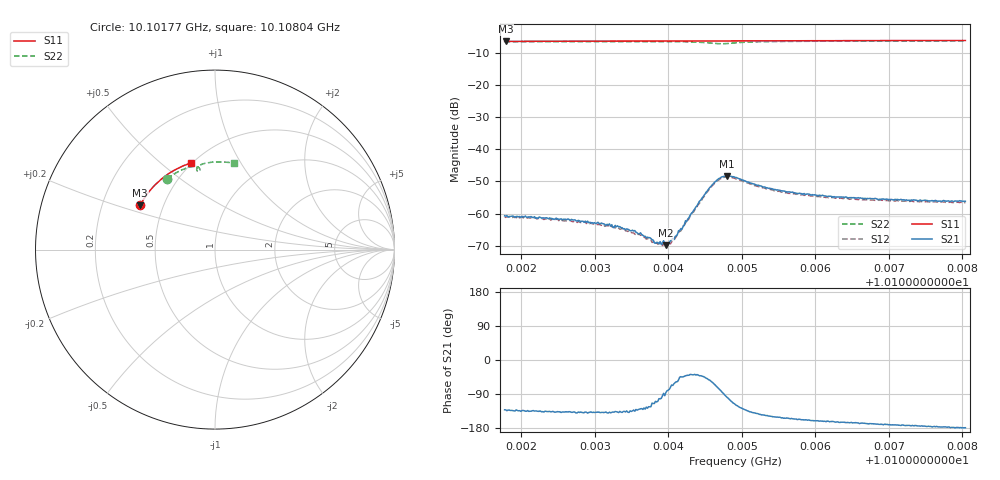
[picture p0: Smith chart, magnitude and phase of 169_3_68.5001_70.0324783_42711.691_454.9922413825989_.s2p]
#  HZ  S  RI  R  50.00
! Rohde & Schwarz Vector Network Analyzer
! Rohde-Schwarz,ZNB20-2Port,1311601062101988,3.16
! Created: UTC 3/20/2024, 4:56:08 PM
! freq[Hz]  re:S11  im:S11  re:S21  im:S21  re:S12  im:S12  re:S22  im:S22
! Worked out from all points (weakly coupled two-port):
!   401 points, 10.10177 GHz to 10.10804 GHz, reference 50 ohm
!   highest |S21| = -48.26 dB at 10.1048 GHz (marker M1); lowest = -69.9 dB at 10.10397 GHz (marker M2)
!   lowest |S11| = -6.3 dB at 10.10179 GHz (marker M3), VSWR 2.88, Z = 18.5 + j11.9 ohm
!   |S11| at or under -10 dB: nowhere
!   |S22| runs from -7.0 to -6.1 dB; largest |S21 - S12| = 0.00041
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1.0101773e10  -0.4173 0.2462  -0.000611 -0.000693  -0.000548 -0.000688  -0.2668 0.3953
1.0101788e10  -0.4167 0.247  -0.000604 -0.000681  -0.000537 -0.000686  -0.266 0.396
1.0102462e10  -0.3962 0.2827  -0.000616 -0.000559  -0.000551 -0.000593  -0.2294 0.4204
1.0102823e10  -0.3839 0.3006  -0.000568 -0.000506  -0.000501 -0.000524  -0.2086 0.4322
1.0103309e10  -0.3661 0.3245  -0.000473 -0.000437  -0.000417 -0.000447  -0.1793 0.4462
1.0103622e10  -0.3539 0.339  -0.000314 -0.00039  -0.000264 -0.000374  -0.159 0.4541
1.0103763e10  -0.3482 0.3454  -0.000223 -0.000341  -0.000173 -0.000346  -0.1493 0.4572
1.0103841e10  -0.345 0.3489  -0.000126 -0.000334  -7.87e-05 -0.000341  -0.1437 0.4589
1.0103873e10  -0.3437 0.3502  -7.06e-05 -0.00033  -5.63e-05 -0.000335  -0.1416 0.4595
1.0103967e10  -0.3398 0.3544  2.38e-05 -0.000318  4.71e-05 -0.000345  -0.1346 0.4613
1.0104014e10  -0.3378 0.3565  7.76e-05 -0.000344  0.00011 -0.000331  -0.1309 0.4619
1.0104077e10  -0.3351 0.3593  0.00018 -0.000349  0.000222 -0.000309  -0.1259 0.4628
1.0104186e10  -0.3305 0.364  0.000405 -0.000405  0.000435 -0.000381  -0.117 0.4634
1.0104453e10  -0.3188 0.3751  0.00126 -0.00114  0.00126 -0.000998  -0.0927 0.4583
1.0104594e10  -0.3124 0.3809  0.00147 -0.00236  0.0016 -0.00216  -0.0843 0.4464
1.0104703e10  -0.3073 0.3851  0.000702 -0.00351  0.000996 -0.00331  -0.0887 0.4365
1.0104797e10  -0.3032 0.3887  -0.000562 -0.00382  -0.000211 -0.00372  -0.0977 0.4372
1.0104907e10  -0.2982 0.3932  -0.00165 -0.00328  -0.0013 -0.00328  -0.102 0.4471
1.0105362e10  -0.2766 0.4103  -0.0021 -0.00132  -0.00189 -0.00145  -0.0744 0.4749
1.0105957e10  -0.2468 0.4305  -0.00185 -0.000681  -0.00171 -0.000812  -0.0321 0.4852
1.0107007e10  -0.1907 0.4605  -0.00164 -0.000275  -0.00151 -0.000427  0.0376 0.4886
1.0108042e10  -0.1323 0.4826  -0.00155 -3.45e-05  -0.00147 -0.000168  0.104 0.4815
